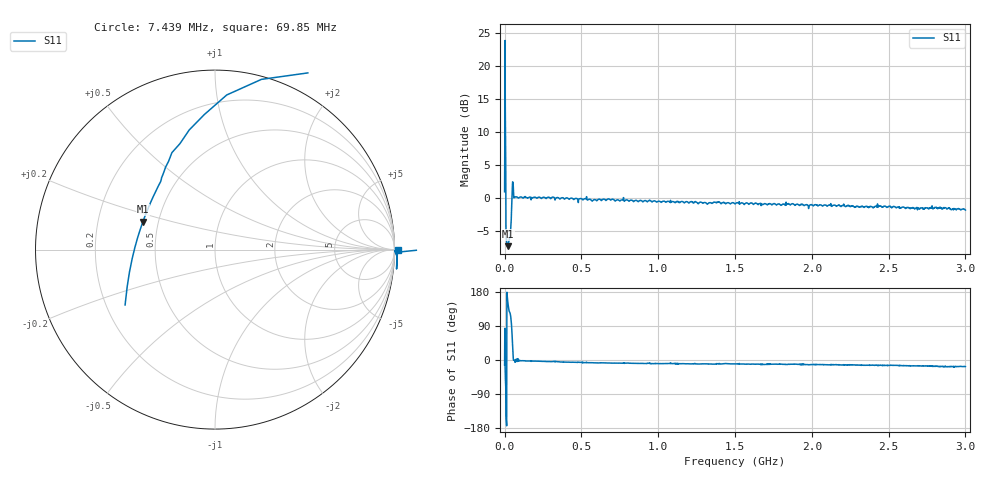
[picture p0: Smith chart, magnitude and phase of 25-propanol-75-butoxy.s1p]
# HZ S RI R 50
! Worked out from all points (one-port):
!   2020 points, 10 kHz to 3 GHz, reference 50 ohm
!   lowest |S11| = -7.3 dB at 19.33 MHz (marker M1), VSWR 2.51, Z = 20.5 + j7.87 ohm
!   |S11| at or under -10 dB: nowhere
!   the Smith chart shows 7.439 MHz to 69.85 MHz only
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10000  1.084 -0.2572
7439395  0.5585 -1.629
1.635467e7  -0.4316 0.0648
1.784055e7  -0.4163 0.1132
1.932643e7  -0.4014 0.1564
2.081231e7  -0.3867 0.1959
2.229818e7  -0.3717 0.2319
2.378406e7  -0.3577 0.2654
2.972758e7  -0.3028 0.3787
3.269934e7  -0.2977 0.4002
3.56711e7  -0.2847 0.4324
3.864285e7  -0.2586 0.4921
4.607225e7  0.0653 0.8615
5.795928e7  1.122 -0.0037
6.241692e7  1.004 -0.0144
6.687456e7  1.014 -0.0252
6.984631e7  1.017 -6.63e-05
7.281807e7  1.019 -0.0376
9.510626e7  1.008 -0.0334
3.759374e8  1.001 -0.0936
7.503789e8  0.9383 -0.1346
1.126306e9  0.9273 -0.1631
1.500748e9  0.8862 -0.1602
1.875189e9  0.8887 -0.1737
2.251117e9  0.8389 -0.1904
2.625558e9  0.8172 -0.2217
2.8737e9  0.8012 -0.2525
3e9  0.7736 -0.2396
